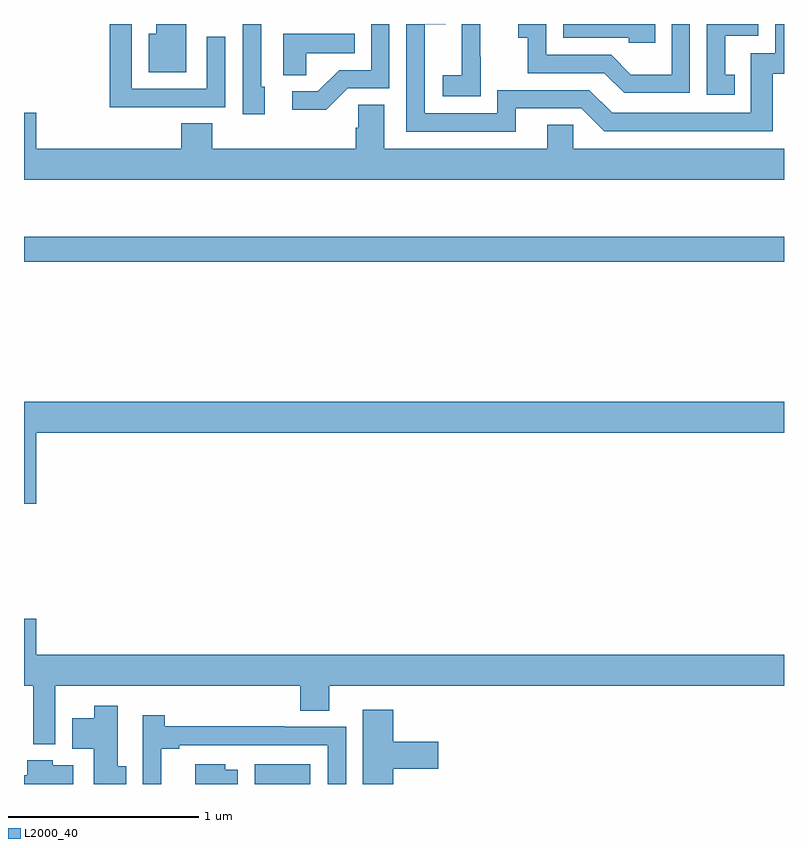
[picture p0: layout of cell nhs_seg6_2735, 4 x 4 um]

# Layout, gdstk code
import gdstk
lib = gdstk.Library(unit=1e-6, precision=1e-09)
def R(c, l, rs):  # rectangles x0, y0, x1, y1
    for r in rs: c.add(gdstk.rectangle(r[:2], r[2:], *l))
def P(c, l, *ps):  # polygons
    for p in ps: c.add(gdstk.Polygon(p, *l))
L2000_40 = (2000, 40)

nhs_seg6_2735 = lib.new_cell('nhs_seg6_2735')
R(nhs_seg6_2735, L2000_40, [(274.214,933.5,274.507,933.604), (273,936.25,277,936.379)])
P(nhs_seg6_2735, L2000_40, [(275.587,937.056),(275.934,937.056),(276.054,936.936),(276.941,936.936),(276.941,937.239),(277,937.239),(277,937.5),(276.954,937.5),(276.954,937.347),(276.825,937.347),(276.825,937.032),(276.096,937.032),(275.976,937.152),(275.49,937.152),(275.49,937.029),(275.109,937.029),(275.109,937.498),(275.219,937.498),(275.219,937.5),(275.013,937.5),(275.013,936.933),(275.587,936.933)],
  [(274.267,937.17),(274.248,937.17),(274.248,937.5),(274.152,937.5),(274.152,937.026),(274.267,937.026)],
  [(273.853,937.5),(273.695,937.5),(273.695,937.45),(273.656,937.45),(273.656,937.247),(273.853,937.247)],
  [(276.504,937.5),(276.408,937.5),(276.408,937.234),(276.194,937.234),(276.09,937.338),(275.748,937.338),(275.748,937.5),(275.601,937.5),(275.601,937.427),(275.65,937.427),(275.65,937.242),(276.053,937.242),(276.158,937.137),(276.504,937.137)],
  [(273.743,937.062),(274.059,937.062),(274.059,937.432),(273.963,937.432),(273.963,937.158),(273.567,937.158),(273.567,937.5),(273.451,937.5),(273.451,937.061),(273.743,937.061)],
  [(276.74,937.233),(276.691,937.233),(276.691,937.437),(276.864,937.437),(276.864,937.5),(276.594,937.5),(276.594,937.128),(276.74,937.128)],
  [(274.704,937.161),(274.923,937.161),(274.923,937.5),(274.827,937.5),(274.827,937.257),(274.658,937.257),(274.547,937.146),(274.413,937.146),(274.413,937.049),(274.591,937.049)],
  [(275.403,937.327),(275.402,937.327),(275.402,937.5),(275.304,937.5),(275.304,937.46),(275.303,937.46),(275.303,937.231),(275.205,937.231),(275.205,937.121),(275.403,937.121)],
  [(276.323,937.5),(275.838,937.5),(275.838,937.428),(276.183,937.428),(276.183,937.401),(276.323,937.401)],
  [(274.485,937.346),(274.742,937.346),(274.742,937.45),(274.364,937.45),(274.364,937.231),(274.485,937.231)],
  [(277,936.844),(275.892,936.844),(275.892,936.971),(275.753,936.971),(275.753,936.844),(274.897,936.844),(274.897,937.076),(274.758,937.076),(274.758,936.953),(274.745,936.953),(274.745,936.844),(273.992,936.844),(273.992,936.977),(273.827,936.977),(273.827,936.844),(273.064,936.844),(273.064,937.033),(273,937.033),(273,936.68),(277,936.68)],
  [(273.064,935.348),(277,935.348),(277,935.512),(273,935.512),(273,934.974),(273.064,934.974)],
  [(273.165,934.016),(274.454,934.016),(274.454,933.886),(274.606,933.886),(274.606,934.016),(277,934.016),(277,934.18),(273.064,934.18),(273.064,934.369),(273,934.369),(273,934.016),(273.049,934.016),(273.049,933.71),(273.165,933.71)],
  [(273.539,933.594),(273.493,933.594),(273.493,933.913),(273.371,933.913),(273.371,933.847),(273.254,933.847),(273.254,933.686),(273.368,933.686),(273.368,933.5),(273.539,933.5)],
  [(274.943,933.581),(275.179,933.581),(275.179,933.723),(274.943,933.723),(274.943,933.892),(274.784,933.892),(274.784,933.5),(274.943,933.5)],
  [(273.722,933.685),(273.817,933.685),(273.817,933.705),(274.599,933.705),(274.599,933.5),(274.695,933.5),(274.695,933.801),(274.37,933.801),(274.37,933.803),(273.74,933.803),(273.74,933.862),(273.624,933.862),(273.624,933.5),(273.722,933.5)],
  [(273.259,933.598),(273.15,933.598),(273.15,933.625),(273.017,933.625),(273.017,933.547),(273,933.547),(273,933.5),(273.259,933.5)],
  [(274.126,933.574),(274.06,933.574),(274.06,933.604),(273.902,933.604),(273.902,933.5),(274.126,933.5)])

lib.write_gds('nhs_seg6_2735.gds')
